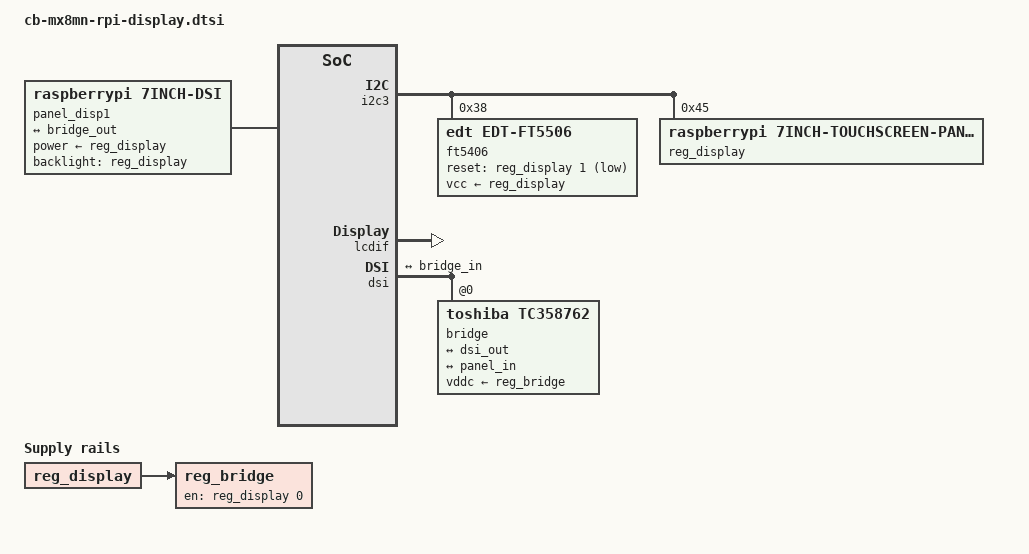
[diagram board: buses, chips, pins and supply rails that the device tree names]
// SPDX-License-Identifier: GPL-2.0

/ {
    panel_disp1: panel_disp1@0 {
        reg = <0>;
        compatible = "raspberrypi,7inch-dsi", "simple-panel";
        backlight = <&reg_display>;
        power-supply = <&reg_display>;

        port {
            panel_in: endpoint {
                remote-endpoint = <&bridge_out>;
            };
        };
    };

    reg_bridge: reg_bridge@0 {
        reg = <0>;
        compatible = "regulator-fixed";
        regulator-name = "bridge_reg";
        gpio = <&reg_display 0 0>;
        vin-supply = <&reg_display>;
        enable-active-high;
    };
};

&i2c3 {
    #address-cells = <1>;
    #size-cells = <0>;
    status = "okay";

    ft5406: ts@38 {
        compatible = "edt,edt-ft5506";
        reg = <0x38>;
        vcc-supply = <&reg_display>;
        reset-gpio = <&reg_display 1 1>;

        touchscreen-size-x = < 800 >;
        touchscreen-size-y = < 480 >;
        touchscreen-inverted-x;
        touchscreen-inverted-y;
    };

    reg_display: reg_display@45 {
        compatible = "raspberrypi,7inch-touchscreen-panel-regulator";
        reg = <0x45>;
        gpio-controller;
        #gpio-cells = <2>;
    };
};

&lcdif {
	status = "okay";
};

&gpu {
	status = "disabled";
};

&dsi {
    status = "okay";

    bridge@0 {
        reg = <0>;
        compatible = "toshiba,tc358762";
        vddc-supply = <&reg_bridge>;
        #address-cells = <1>;
		#size-cells = <0>;
        status = "okay";

        ports {
            #address-cells = <1>;
            #size-cells = <0>;

            port@0 {
                reg = <0>;
                bridge_in: endpoint {
                    remote-endpoint = <&dsi_out>;
                };
            };

            port@1 {
                reg = <1>;
                bridge_out: endpoint {
                    remote-endpoint = <&panel_in>;
                };
            };
        };
    };

    ports {
        port@1 {
            reg = <1>;

            dsi_out: endpoint {
                remote-endpoint = <&bridge_in>;
            };
        };
    };
};
